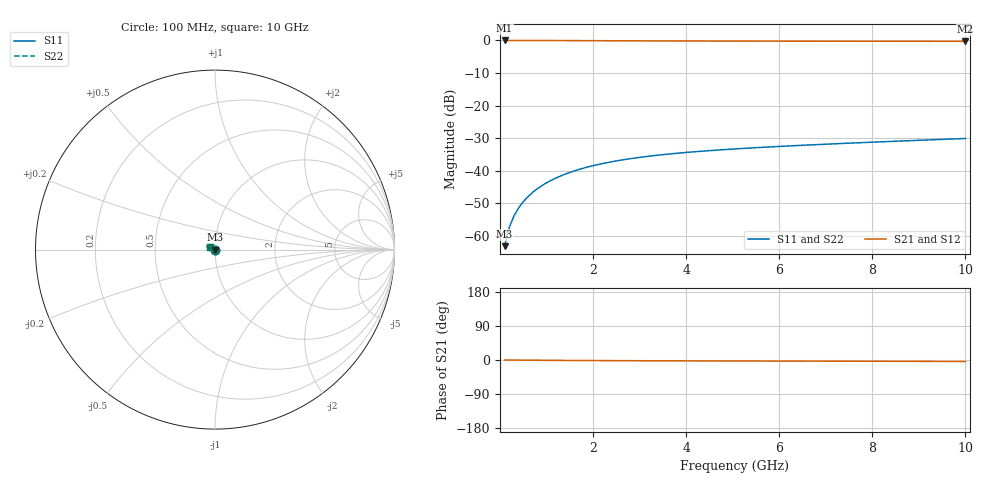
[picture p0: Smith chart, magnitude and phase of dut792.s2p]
! Touchstone file exported from HFSS 2024.1.0
!  File:  C:/UserFiles/LocalFiles/RDL_TSV_Batchsim/temp_TSV1_792_1779875716.aedt
!  Generated:  06:00:49 PM May 27, 2026
!  Design:  TSV1
!  Project:  temp_TSV1_792_1779875716
!  Setup:  Setup1
!  Solution:  Sweep
! Variables:
!  dtsv = 8.23um
!  hbump = 3um
!  htsv = 55.52um
!  lrdl = 252.1521522um
!  p = 40
!  p1 = 54.85um
!  t = 500um
!  trdl = 3um
!  wrdl = 24.89489489um
# GHz S MA R 50.000000
! Terminal data exported
! Port[1] = TSV22_T1
! Port[2] = TSV22_T2
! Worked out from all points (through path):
!   100 points, 100 MHz to 10 GHz, reference 50 ohm
!   highest |S21| = 0.00 dB at 100 MHz (marker M1); lowest = -0.3 dB at 10 GHz (marker M2)
!   lowest |S11| = -63.2 dB at 100 MHz (marker M3), VSWR 1.00, Z = 50 - j0.0674 ohm
!   |S11| at or under -10 dB: start of sweep to end of sweep
!   |S22| runs from -63.2 to -30.1 dB; largest |S21 - S12| = 5.1e-15
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0.1  0.0006897 -77.7  0.9998 -0.1  0.9998 -0.1  0.0006897 -77.7
! Gamma 0 0 0 0
! Port Impedance 50 0 50 0
0.2  0.001345 -87.1  0.9997 -0.2  0.9997 -0.2  0.001345 -87.1
0.3  0.002005 -91.9  0.9996 -0.3  0.9996 -0.3  0.002005 -91.9
0.4  0.002664 -95.3  0.9994 -0.3  0.9994 -0.3  0.002664 -95.3
0.5  0.003319 -98.3  0.9991 -0.4  0.9991 -0.4  0.003319 -98.3
0.6  0.003968 -101.0  0.9988 -0.5  0.9988 -0.5  0.003968 -101.0
0.7  0.00461 -103.5  0.9985 -0.6  0.9985 -0.6  0.00461 -103.5
0.8  0.005244 -106.0  0.9981 -0.7  0.9981 -0.7  0.005244 -106.0
0.9  0.005868 -108.3  0.9977 -0.8  0.9977 -0.8  0.005868 -108.3
1.1  0.007084 -112.8  0.9968 -0.9  0.9968 -0.9  0.007084 -112.8
1.4  0.008815 -119.1  0.9952 -1.1  0.9952 -1.1  0.008815 -119.1
1.6  0.009901 -123.1  0.994 -1.2  0.994 -1.2  0.009901 -123.1
1.8  0.01093 -127.0  0.9929 -1.4  0.9929 -1.4  0.01093 -127.0
2.1  0.01237 -132.5  0.9911 -1.5  0.9911 -1.5  0.01236 -132.5
2.5  0.01409 -139.3  0.9887 -1.7  0.9887 -1.7  0.01409 -139.3
2.9  0.01561 -145.6  0.9865 -1.9  0.9865 -1.9  0.01561 -145.6
3.4  0.01727 -152.8  0.9839 -2.1  0.9839 -2.1  0.01727 -152.8
4.2  0.01952 -162.9  0.9805 -2.3  0.9805 -2.3  0.01952 -162.9
5.1  0.02164 -172.5  0.9774 -2.6  0.9774 -2.6  0.02164 -172.5
6.7  0.02488 173.5  0.9737 -3.0  0.9737 -3.0  0.02488 173.5
8.4  0.02809 162.0  0.9712 -3.5  0.9712 -3.5  0.02809 162.0
10  0.03115 153.2  0.9695 -3.9  0.9695 -3.9  0.03115 153.2
